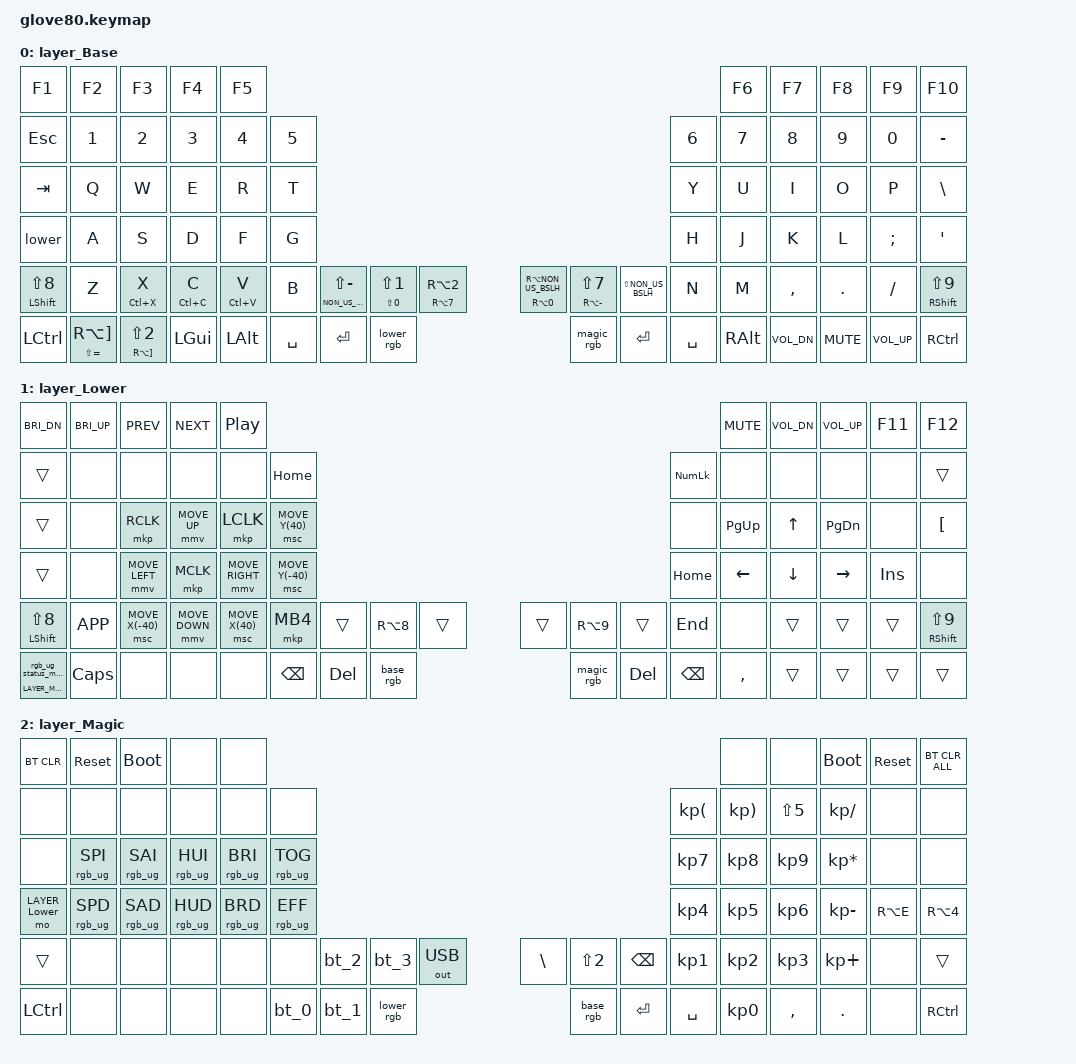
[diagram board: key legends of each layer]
/*
 * Copyright (c) 2020 The ZMK Contributors
 * Copyright (c) 2025 Innaworks Development Limited, trading as MoErgo
 *
 * SPDX-License-Identifier: MIT
 */


/* THIS FILE WAS GENERATED BY GLOVE80 LAYOUT EDITOR
 *
 * This file was generated automatically. You may or may not want to
 * edit it directly.
 */

#include <behaviors.dtsi>
										  
#include <dt-bindings/zmk/outputs.h>
#include <dt-bindings/zmk/keys.h>
#include <dt-bindings/zmk/bt.h>
#include <dt-bindings/zmk/rgb.h>

/* On demand includes */
#include <dt-bindings/zmk/pointing.h>

/* Helper Macros, based on https://github.com/urob/zmk-helpers/ */

#pragma once

#define ZMK_HELPER_STRINGIFY(x) #x

// Preprocessor mechanism to overload macros, cf. https://stackoverflow.com/a/27051616/6114651
#define VARGS_(_10, _9, _8, _7, _6, _5, _4, _3, _2, _1, N, ...) N
#define VARGS(...) VARGS_(__VA_ARGS__, 10, 9, 8, 7, 6, 5, 4, 3, 2, 1, 0)
#define CONCAT_(a, b) a##b
#define CONCAT(a, b) CONCAT_(a, b)

#define ZMK_BEHAVIOR_CORE_tap_dance  \
    compatible = "zmk,behavior-tap-dance"; \
    #binding-cells = <0>

#define ZMK_BEHAVIOR(name, type, ...) \
    name: name { \
        ZMK_BEHAVIOR_CORE_ ## type; \
        __VA_ARGS__ \
    };

#define ZMK_TAP_DANCE(name, ...) \
    ZMK_BEHAVIOR(name, tap_dance, __VA_ARGS__)

#define ZMK_TD_LAYER(name, layer) \
    ZMK_TAP_DANCE(name, \
        tapping-term-ms = <200>; \
        bindings = <&mo layer>, <&to layer>; \
)

/* Environment and metadata defines */
#define KB_TYPE_GLOVE_80 1
#define KB_TYPE_GO_60    2

#define KB_TYPE          KB_TYPE_GLOVE_80
#define EDITOR_HOST_OS   'W'

/* Automatically generated layer name defines */
#define LAYER_Base 0
#define LAYER_Lower 1
#define LAYER_Magic 2

/* To deal with the situation where there is no Lower layer, to keep &lower happy */
#ifndef LAYER_Lower
#define LAYER_Lower 0
#endif

/* Custom Device-tree */

/ {
    behaviors {
        /* Base: RGB off */
        base_rgb: base_rgb {
            compatible = "zmk,behavior-macro";
            label = "BASE_RGB";
            #binding-cells = <0>;
            bindings
                = <&to LAYER_Base>
                , <&rgb_ug RGB_OFF>;
        };

        /* Lower layer: fixed red underglow */
        lower_rgb: lower_rgb {
            compatible = "zmk,behavior-macro";
            label = "LOWER_RGB";
            #binding-cells = <0>;
            bindings
                = <&rgb_ug RGB_ON>
                , <&rgb_ug RGB_COLOR_HSB(0, 100, 30)>  // red
                , <&to LAYER_Lower>;
        };


/* Magic layer: fixed blue underglow */
        magic_rgb: magic_rgb {
            compatible = "zmk,behavior-macro";
            label = "MAGIC_RGB";
            #binding-cells = <0>;
            bindings
                = <&rgb_ug RGB_ON>
                , <&rgb_ug RGB_COLOR_HSB(200, 100, 30)>  // blue
                , <&to LAYER_Magic>;
        };
    };
};

/* Input Listeners */

/* System behavior and Macros */
 / {
    behaviors {
        ZMK_TD_LAYER(lower, LAYER_Lower)
    };
};

/ {
    macros {
        rgb_ug_status_macro: rgb_ug_status_macro {
            label = "RGB_UG_STATUS";
            compatible = "zmk,behavior-macro";
            #binding-cells = <0>;
            bindings
                = <&rgb_ug RGB_STATUS>;
        };
    };
};


 / {
#ifdef BT_DISC_CMD
    behaviors {
        bt_0: bt_0 {
            compatible = "zmk,behavior-tap-dance";
            label = "BT_0";
            #binding-cells = <0>;
            tapping-term-ms = <200>;
            bindings = <&bt_select_0>, <&bt BT_DISC 0>;
        };
        bt_1: bt_1 {
            compatible = "zmk,behavior-tap-dance";
            label = "BT_1";
            #binding-cells = <0>;
            tapping-term-ms = <200>;
            bindings = <&bt_select_1>, <&bt BT_DISC 1>;
        };
        bt_2: bt_2 {
            compatible = "zmk,behavior-tap-dance";
            label = "BT_2";
            #binding-cells = <0>;
            tapping-term-ms = <200>;
            bindings = <&bt_select_2>, <&bt BT_DISC 2>;
        };
        bt_3: bt_3 {
            compatible = "zmk,behavior-tap-dance";
            label = "BT_3";
            #binding-cells = <0>;
            tapping-term-ms = <200>;
            bindings = <&bt_select_3>, <&bt BT_DISC 3>;
        };
    };
    macros {
        bt_select_0: bt_select_0 {
            label = "BT_SELECT_0";
            compatible = "zmk,behavior-macro";
            #binding-cells = <0>;
            bindings
                = <&out OUT_BLE>,
                  <&bt BT_SEL 0>;
        };
        bt_select_1: bt_select_1 {
            label = "BT_SELECT_1";
            compatible = "zmk,behavior-macro";
            #binding-cells = <0>;
            bindings
                = <&out OUT_BLE>,
                  <&bt BT_SEL 1>;
        };
        bt_select_2: bt_select_2 {
            label = "BT_SELECT_2";
            compatible = "zmk,behavior-macro";
            #binding-cells = <0>;
            bindings
                = <&out OUT_BLE>,
                  <&bt BT_SEL 2>;
        };
        bt_select_3: bt_select_3 {
            label = "BT_SELECT_3";
            compatible = "zmk,behavior-macro";
            #binding-cells = <0>;
            bindings
                = <&out OUT_BLE>,
                  <&bt BT_SEL 3>;
        };
    };
#else
    macros {
        bt_0: bt_0 {
            label = "BT_0";
            compatible = "zmk,behavior-macro";
            #binding-cells = <0>;
            bindings
                = <&out OUT_BLE>,
                  <&bt BT_SEL 0>;
        };
        bt_1: bt_1 {
            label = "BT_1";
            compatible = "zmk,behavior-macro";
            #binding-cells = <0>;
            bindings
                = <&out OUT_BLE>,
                  <&bt BT_SEL 1>;
        };
        bt_2: bt_2 {
            label = "BT_2";
            compatible = "zmk,behavior-macro";
            #binding-cells = <0>;
            bindings
                = <&out OUT_BLE>,
                  <&bt BT_SEL 2>;
        };
        bt_3: bt_3 {
            label = "BT_3";
            compatible = "zmk,behavior-macro";
            #binding-cells = <0>;
            bindings
                = <&out OUT_BLE>,
                  <&bt BT_SEL 3>;
        };
    };
#endif
};

/ {
    behaviors {
        magic: magic {
            compatible = "zmk,behavior-hold-tap";
            label = "MAGIC_HOLD_TAP";
            #binding-cells = <2>;
            flavor = "tap-preferred";
            tapping-term-ms = <200>;
            bindings = <&mo>, <&rgb_ug_status_macro>;
        };
    };
};


/* Locale-specific keycodes */

#define SV_SECTION GRAVE
#define SV_PLUS MINUS
#define SV_ACUTE EQUAL
#define SV_E E
#define SV_A_RING LEFT_BRACKET
#define SV_UMLA RIGHT_BRACKET
#define SV_OE SEMICOLON
#define SV_AE SINGLE_QUOTE
#define SV_SQT BACKSLASH
#define SV_LT NON_US_BACKSLASH
#define SV_COMMA COMMA
#define SV_DOT PERIOD
#define SV_MINUS SLASH
#define SV_N1 N1
#define SV_N2 N2
#define SV_N3 N3
#define SV_N4 N4
#define SV_N5 N5
#define SV_N6 N6
#define SV_N7 N7
#define SV_N8 N8
#define SV_N9 N9
#define SV_N0 N0


/* Key positions */

#define POS_LH_C6R1 0
#define POS_LH_C5R1 1
#define POS_LH_C4R1 2
#define POS_LH_C3R1 3
#define POS_LH_C2R1 4
#define POS_RH_C2R1 5
#define POS_RH_C3R1 6
#define POS_RH_C4R1 7
#define POS_RH_C5R1 8
#define POS_RH_C6R1 9
#define POS_LH_C6R2 10
#define POS_LH_C5R2 11
#define POS_LH_C4R2 12
#define POS_LH_C3R2 13
#define POS_LH_C2R2 14
#define POS_LH_C1R2 15
#define POS_RH_C1R2 16
#define POS_RH_C2R2 17
#define POS_RH_C3R2 18
#define POS_RH_C4R2 19
#define POS_RH_C5R2 20
#define POS_RH_C6R2 21
#define POS_LH_C6R3 22
#define POS_LH_C5R3 23
#define POS_LH_C4R3 24
#define POS_LH_C3R3 25
#define POS_LH_C2R3 26
#define POS_LH_C1R3 27
#define POS_RH_C1R3 28
#define POS_RH_C2R3 29
#define POS_RH_C3R3 30
#define POS_RH_C4R3 31
#define POS_RH_C5R3 32
#define POS_RH_C6R3 33
#define POS_LH_C6R4 34
#define POS_LH_C5R4 35
#define POS_LH_C4R4 36
#define POS_LH_C3R4 37
#define POS_LH_C2R4 38
#define POS_LH_C1R4 39
#define POS_RH_C1R4 40
#define POS_RH_C2R4 41
#define POS_RH_C3R4 42
#define POS_RH_C4R4 43
#define POS_RH_C5R4 44
#define POS_RH_C6R4 45
#define POS_LH_C6R5 46
#define POS_LH_C5R5 47
#define POS_LH_C4R5 48
#define POS_LH_C3R5 49
#define POS_LH_C2R5 50
#define POS_LH_C1R5 51
#define POS_LH_T1 52
#define POS_LH_T2 53
#define POS_LH_T3 54
#define POS_RH_T3 55
#define POS_RH_T2 56
#define POS_RH_T1 57
#define POS_RH_C1R5 58
#define POS_RH_C2R5 59
#define POS_RH_C3R5 60
#define POS_RH_C4R5 61
#define POS_RH_C5R5 62
#define POS_RH_C6R5 63
#define POS_LH_C6R6 64
#define POS_LH_C5R6 65
#define POS_LH_C4R6 66
#define POS_LH_C3R6 67
#define POS_LH_C2R6 68
#define POS_LH_T4 69
#define POS_LH_T5 70
#define POS_LH_T6 71
#define POS_RH_T6 72
#define POS_RH_T5 73
#define POS_RH_T4 74
#define POS_RH_C2R6 75
#define POS_RH_C3R6 76
#define POS_RH_C4R6 77
#define POS_RH_C5R6 78
#define POS_RH_C6R6 79


/* Custom Defined Behaviors */
 / {
behaviors {
  // Grave Accent / Tilde
  grave_tilde: grave_tilde {
    compatible = "zmk,behavior-mod-morph";
    #binding-cells = <0>;
    bindings = <&kp LS(EQUAL)>, <&kp RA(RBKT)>;
    mods = <(MOD_LSFT|MOD_RSFT)>;
  };

  // Number 4 Key: 4 / ^ / $
  n4_mod: n4_mod {
    compatible = "zmk,behavior-mod-morph";
    #binding-cells = <0>;
    bindings = <&kp N4>, <&kp LS(RBKT)>;
    mods = <(MOD_LSFT|MOD_RSFT)>;
  };

  n4: n4 {
    compatible = "zmk,behavior-mod-morph";
    #binding-cells = <0>;
    bindings = <&n4_mod>, <&kp RA(N4)>;
    mods = <(MOD_RALT)>;
  };

  // Number 7 Key: 7 / slash / backslash
  n7_mod: n7_mod {
    compatible = "zmk,behavior-mod-morph";
    #binding-cells = <0>;
    bindings = <&kp N7>, <&kp LS(N7)>;
    mods = <(MOD_LSFT|MOD_RSFT)>;
  };

  n7: n7 {
    compatible = "zmk,behavior-mod-morph";
    #binding-cells = <0>;
    bindings = <&n7_mod>, <&kp RA(MINUS)>;
    mods = <MOD_RALT>;
  };

  // Backslash / Pipe
  backslash_pipe: backslash_pipe {
    compatible = "zmk,behavior-mod-morph";
    #binding-cells = <0>;
    bindings = <&kp RA(MINUS)>, <&kp RA(NON_US_BSLH)>;
    mods = <(MOD_LSFT|MOD_RSFT)>;
  };

  // Left Bracket / Left Brace
  lbracket: lbracket {
    compatible = "zmk,behavior-mod-morph";
    #binding-cells = <0>;
    bindings = <&kp RA(N8)>, <&kp RA(N7)>;
    mods = <(MOD_LSFT|MOD_RSFT)>;
  };

  // Right Bracket / Right Brace
  rbracket: rbracket {
    compatible = "zmk,behavior-mod-morph";
    #binding-cells = <0>;
    bindings = <&kp RA(N9)>, <&kp RA(N0)>;
    mods = <(MOD_LSFT|MOD_RSFT)>;
  };

  // Mod tap time
  my_mt: my_mt {
    compatible = "zmk,behavior-hold-tap";
    #binding-cells = <2>;
    flavor = "balanced";
    tapping-term-ms = <300>;
    quick-tap-ms = <150>;
    bindings = <&kp>, <&kp>;
  };
};

};

/* Generated input processors */


/* Automatically generated macro definitions */
/ {
    macros {

    };
};

/* Automatically generated behavior definitions */
/ {
    behaviors {
        ZMK_TD_LAYER(td_LAYER_Lower, 1)
									

        ZMK_TD_LAYER(td_LAYER_Magic, 2)

    };
};

/* Automatically generated combos definitions */


/* Automatically generated keymap */
/ {
    keymap {
        compatible = "zmk,keymap";


        layer_Base {
            bindings = <
        &kp F1                  &kp F2               &kp F3    &kp F4    &kp F5                                                                                                                                                            &kp F6        &kp F7      &kp F8        &kp F9           &kp F10
        &kp ESC                  &kp N1               &kp N2    &kp N3    &kp N4  &kp N5                                                                                                                                          &kp N6    &kp N7        &kp N8      &kp N9        &kp N0         &kp MINUS
        &kp TAB                   &kp Q                &kp W     &kp E     &kp R   &kp T                                                                                                                                           &kp Y     &kp U         &kp I       &kp O         &kp P          &kp BSLH
        &lower                    &kp A                &kp S     &kp D     &kp F   &kp G                                                                                                                                           &kp H     &kp J         &kp K       &kp L      &kp SEMI           &kp SQT
 &my_mt LSHFT LS(N8)                 &kp Z    &my_mt LC(X) X  &my_mt LC(C) C  &my_mt LC(V) V  &kp B  &my_mt NON_US_BSLH LS(MINUS)  &my_mt LS(N0) LS(N1)  &my_mt RA(N7) RA(N2)  &my_mt RA(N0) RA(NON_US_BSLH)  &my_mt RA(MINUS) LS(N7)  &kp LS(NON_US_BSLH)   &kp N     &kp M     &kp COMMA     &kp DOT      &kp FSLH  &my_mt RSHFT LS(N9)
        &kp LCTRL  &my_mt LS(EQUAL) RA(RBKT)  &my_mt RA(RBKT) LS(N2)  &kp LGUI  &kp LALT                          &kp SPACE            &kp RET    &lower_rgb             &magic_rgb               &kp RET            &kp SPACE          &kp RALT  &kp C_VOL_DN  &kp C_MUTE  &kp C_VOL_UP         &kp RCTRL
            >;
        };

        layer_Lower {
            bindings = <
         &kp C_BRI_DN  &kp C_BRI_UP         &kp C_PREV      &kp C_NEXT          &kp C_PP                                                                                                                  &kp C_MUTE    &kp C_VOL_DN     &kp C_VOL_UP  &kp F11           &kp F12
               &trans         &none              &none           &none             &none           &kp HOME                                                                               &kp KP_NUM           &none           &none            &none    &none            &trans
               &trans         &none          &mkp RCLK    &mmv MOVE_UP         &mkp LCLK   &msc MOVE_Y(40)                                                                                    &none       &kp PG_UP    &kp UP_ARROW        &kp PG_DN    &none          &kp LBKT
               &trans         &none     &mmv MOVE_LEFT       &mkp MCLK   &mmv MOVE_RIGHT  &msc MOVE_Y(-40)                                                                                 &kp HOME  &kp LEFT_ARROW  &kp DOWN_ARROW  &kp RIGHT_ARROW  &kp INS             &none
     &my_mt LSHFT LS(N8)     &kp K_APP  &msc MOVE_X(-40)  &mmv MOVE_DOWN  &msc MOVE_X(40)           &mkp MB4    &trans  &kp RA(N8)          &trans           &trans  &kp RA(N9)    &trans     &kp END           &none          &trans           &trans   &trans  &mt RSHFT LS(N9)
 &magic LAYER_Magic 0      &kp CAPS              &none           &none             &none                     &kp BSPC     &kp DEL  &base_rgb  &magic_rgb     &kp DEL  &kp BSPC                   &kp COMMA          &trans           &trans   &trans            &trans
            >;
        };

        layer_Magic {
            bindings = <
      &bt BT_CLR       &sys_reset      &bootloader            &none            &none                                                                                                              &none       &none      &bootloader  &sys_reset  &bt BT_CLR_ALL
           &none            &none            &none            &none            &none            &none                                                                          &kp KP_LPAR  &kp KP_RPAR  &kp LS(N5)     &kp KP_SLASH       &none           &none
           &none  &rgb_ug RGB_SPI  &rgb_ug RGB_SAI  &rgb_ug RGB_HUI  &rgb_ug RGB_BRI  &rgb_ug RGB_TOG                                                                            &kp KP_N7    &kp KP_N8   &kp KP_N9  &kp KP_MULTIPLY       &none           &none
          &mo LAYER_Lower  &rgb_ug RGB_SPD  &rgb_ug RGB_SAD  &rgb_ug RGB_HUD  &rgb_ug RGB_BRD  &rgb_ug RGB_EFF                                                                            &kp KP_N4    &kp KP_N5   &kp KP_N6     &kp KP_MINUS   &kp RA(E)      &kp RA(N4)
          &trans            &none            &none            &none            &none            &none   &bt_2   &bt_3     &out OUT_USB        &kp BSLH  &kp LS(N2)   &kp BSPC    &kp KP_N1    &kp KP_N2   &kp KP_N3      &kp KP_PLUS       &none          &trans
       &kp LCTRL            &none            &none            &none            &none                    &bt_0   &bt_1  &lower_rgb  &base_rgb     &kp RET  &kp SPACE                 &kp KP_N0   &kp COMMA       &kp DOT       &none       &kp RCTRL
            >;
        };

    };
};
